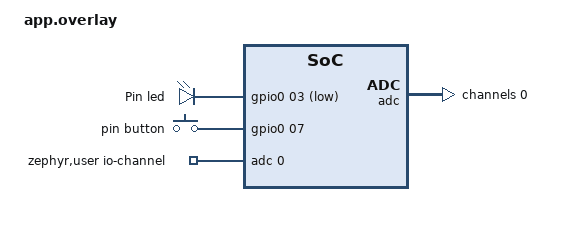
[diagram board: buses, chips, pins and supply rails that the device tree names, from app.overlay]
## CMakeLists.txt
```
cmake_minimum_required(VERSION 3.20.0)
find_package(Zephyr REQUIRED HINTS $ENV{ZEPHYR_BASE})

project(slaverRemote)

target_sources(app PRIVATE src/main.c)
```

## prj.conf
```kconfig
CONFIG_PM=y
CONFIG_PM_DEVICE=y

# General config RTT
CONFIG_LOG=y
CONFIG_USE_SEGGER_RTT=y
CONFIG_RTT_CONSOLE=y
    # Use ble and print long data with high speed
CONFIG_LOG_BUFFER_SIZE= 16384
CONFIG_SEGGER_RTT_MODE_BLOCK_IF_FIFO_FULL=y

CONFIG_ADC=y

# General config BLE
CONFIG_BT=y
CONFIG_BT_DEBUG_LOG=y
CONFIG_BT_PERIPHERAL=y
CONFIG_BT_SMP=y
CONFIG_BT_SIGNING=y
CONFIG_BT_DEVICE_NAME="RemoteDev"
CONFIG_BT_DEVICE_APPEARANCE=833
CONFIG_BT_DEVICE_NAME_DYNAMIC=y
CONFIG_BT_DEVICE_NAME_MAX=15
CONFIG_BT_KEYS_OVERWRITE_OLDEST=y
CONFIG_BT_SETTINGS=y
CONFIG_FLASH=y
CONFIG_FLASH_PAGE_LAYOUT=y
CONFIG_FLASH_MAP=y
CONFIG_NVS=y
CONFIG_SETTINGS=y

CONFIG_BT_PERIPHERAL_PREF_LATENCY=0
CONFIG_BT_PERIPHERAL_PREF_MAX_INT=2000
CONFIG_BT_PERIPHERAL_PREF_MIN_INT=1800
CONFIG_BT_PERIPHERAL_PREF_TIMEOUT=800
CONFIG_BT_CTLR_TX_PWR_PLUS_4=y
```

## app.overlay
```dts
#include <zephyr/dt-bindings/adc/adc.h>

/{
    leds {
		compatible = "gpio-leds";
		pinLed: pinLed {
			gpios = <&gpio0 03 GPIO_ACTIVE_LOW>;
			label = "Pin led";
		};
    };
    
    buttons {
		compatible = "gpio-keys";
		buttonRing: buttonRing {
			gpios = <&gpio0 07 (GPIO_PULL_DOWN | GPIO_ACTIVE_HIGH)>;
			label = "pin button";
		};
    };

	zephyr,user {
        io-channels =  <&adc 0>;
    };

    aliases {
		pinled = &pinLed;
        swring = &buttonRing;
    };

};

&gpio0 {
    status = "okay";
};

&adc {
    compatible = "nordic,nrf-saadc";
    status = "okay";
    #address-cells = <1>;
    #size-cells = <0>;

    channel@0 {
        reg = <0>;
        zephyr,gain = "ADC_GAIN_1_6";
        zephyr,reference = "ADC_REF_INTERNAL";
        zephyr,acquisition-time = <ADC_ACQ_TIME_DEFAULT>;
        zephyr,input-positive = <NRF_SAADC_VDD>;
        zephyr,resolution = <12>;
        zephyr,oversampling = <8>;
    };
};
```

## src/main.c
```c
#include <stdio.h>
#include <inttypes.h>
#include <stddef.h>
#include <stdint.h>

#include <zephyr/kernel.h>
#include <zephyr/device.h>
#include <zephyr/init.h>
#include <zephyr/pm/pm.h>
#include <zephyr/pm/device.h>
#include <zephyr/pm/policy.h>
#include <soc.h>
#include <zephyr/logging/log.h>
#include <zephyr/sys/util.h>
#include <zephyr/drivers/adc.h>
#include <zephyr/drivers/gpio.h>
#include <zephyr/device.h>
#include <zephyr/devicetree.h>
#include <hal/nrf_gpio.h>

#include <zephyr/settings/settings.h>
#include <zephyr/bluetooth/bluetooth.h>
#include <zephyr/bluetooth/hci.h>
#include <zephyr/bluetooth/conn.h>
#include <zephyr/bluetooth/uuid.h>
#include <zephyr/bluetooth/gatt.h>
#include "Lib/contrain.h"

LOG_MODULE_REGISTER(main, LOG_LEVEL_DBG);

#if !DT_NODE_EXISTS(DT_PATH(zephyr_user)) || !DT_NODE_HAS_PROP(DT_PATH(zephyr_user), io_channels)
#error "No suitable devicetree overlay specified"
#endif

#define DT_SPEC_AND_COMMA(node_id, prop, idx) ADC_DT_SPEC_GET_BY_IDX(node_id, idx),

/* Data of ADC io-channels specified in devicetree. */
static const struct adc_dt_spec adc_channels[] = {
	DT_FOREACH_PROP_ELEM(DT_PATH(zephyr_user), io_channels,
			     DT_SPEC_AND_COMMA)
};

#define LDO_NODE 		    		DT_ALIAS(pinled)
#define SWRING_NODE		    		DT_ALIAS(swring)
#define BT_UUID_SERVICE_REMOTE_BIKE      			BT_UUID_128_ENCODE(0x1025101d, 0x243f, 0x4de0, 0x8df5, 0x870c2b7d500e)
#define BT_UUID_CHARACTERISTIC_BUTTON_REMOTE		BT_UUID_128_ENCODE(0xe87d4210, 0xd28d, 0x42b1, 0x947b, 0x4a2fff0b0409)
#define BATTERY_MIN					3490		
#define BATTERY_MAX					3690
#define TIME_READ_LOW_BATTERY		500			// unit ms
#define TIME_READ_BATTERY			500			// unit seconds

static struct bt_uuid_128 service_uuid = BT_UUID_INIT_128(BT_UUID_SERVICE_REMOTE_BIKE);
static struct bt_uuid_128 charc_button_uuid = BT_UUID_INIT_128(BT_UUID_CHARACTERISTIC_BUTTON_REMOTE);

const struct device *uart0_dev = DEVICE_DT_GET(DT_CHOSEN(zephyr_console));
static const struct gpio_dt_spec led = GPIO_DT_SPEC_GET(LDO_NODE, gpios);
static const struct gpio_dt_spec button = GPIO_DT_SPEC_GET(SWRING_NODE, gpios);

static struct gpio_callback button_cb_data;
static uint8_t notifyMain;
struct k_timer bat_timer;
struct k_timer timer_1000;

int16_t buf;
struct adc_sequence sequence = {
	.buffer = &buf,
	/* buffer size in bytes, not number of samples */
	.buffer_size = sizeof(buf),
};

uint32_t timerDelay = 0;
uint32_t lastTimeButton = 0;
uint32_t lastTimeLed = 0;
bool stateSleep = true;
bool connect = false;
uint8_t mode = 0;
static float Vin = 0;

void wakeup();
void deepSleep(bool stateSleep);
void handleControl();
void setLed(uint8_t);
void setLedBattery(uint16_t _delayMS);
void beginAD(void);
uint16_t analogRead(uint8_t _pinAdc);


extern void battery_timerFunc(struct k_timer *timer_id) {
	int16_t batteryPercent = 0;
	for (uint8_t i = 0 ; i < 100; i++) {
		Vin = analogRead(0);
		UTILS_LOW_PASS_FILTER(Vin, analogRead(0), 0.05);
		batteryPercent = (Vin - BATTERY_MIN) / (BATTERY_MAX - BATTERY_MIN) * 100.0;
    	batteryPercent = constrain(batteryPercent, 0, 100);
	}
	LOG_INF("Battery: %d", batteryPercent);
	if (batteryPercent < 15) {
		k_timer_start(&bat_timer, K_MSEC(TIME_READ_LOW_BATTERY), K_NO_WAIT);
		setLedBattery(80);
	}else {
		k_timer_start(&bat_timer, K_SECONDS(TIME_READ_BATTERY), K_NO_WAIT);
	}
}

extern void timer_1000_Func(struct k_timer *timer_id) {
	gpio_pin_set_raw(led.port, led.pin, 0);
}

static const struct bt_data ad[] = {
	BT_DATA_BYTES(BT_DATA_FLAGS, (BT_LE_AD_GENERAL | BT_LE_AD_NO_BREDR)),
};

static const struct bt_data sd[] = {
	BT_DATA_BYTES(BT_DATA_UUID128_ALL, BT_UUID_SERVICE_REMOTE_BIKE),
};

static void RemoteBike_ccc_cfg_changed(const struct bt_gatt_attr *attr, uint16_t value) {
	notifyMain = value == BT_GATT_CCC_NOTIFY; 
}

BT_GATT_SERVICE_DEFINE(RemoteBike,
    BT_GATT_PRIMARY_SERVICE(&service_uuid),
    BT_GATT_CHARACTERISTIC(&charc_button_uuid.uuid,
                            BT_GATT_CHRC_NOTIFY,
                            BT_GATT_PERM_WRITE | BT_GATT_PERM_READ,
                            NULL, NULL, NULL),
    BT_GATT_CCC(RemoteBike_ccc_cfg_changed, BT_GATT_PERM_READ | BT_GATT_PERM_WRITE),
);

void mtu_updated(struct bt_conn *conn, uint16_t tx, uint16_t rx) {
	LOG_INF("Updated MTU: TX: %d RX: %d bytes", tx, rx);
}

static struct bt_gatt_cb gatt_callbacks = {
	.att_mtu_updated = mtu_updated
};

static void connected(struct bt_conn *conn, uint8_t err) {
	if (err) {
		LOG_WRN("Connection failed (err 0x%02x)", err);
		connect = false;
	} else {
		LOG_INF("Connected");
        connect = true;
	}
}

static void disconnected(struct bt_conn *conn, uint8_t reason) {
	LOG_WRN("Disconnected (reason 0x%02x)", reason);
    connect = false;
}

BT_CONN_CB_DEFINE(conn_callbacks) = {
	.connected = connected,
	.disconnected = disconnected,
};

static void auth_passkey_display(struct bt_conn *conn, unsigned int passkey)
{
	char addr[BT_ADDR_LE_STR_LEN];
	bt_addr_le_to_str(bt_conn_get_dst(conn), addr, sizeof(addr));
	printk("Passkey for %s: %06u\n", addr, passkey);
}

static void auth_cancel(struct bt_conn *conn)
{
	char addr[BT_ADDR_LE_STR_LEN];
	bt_addr_le_to_str(bt_conn_get_dst(conn), addr, sizeof(addr));
	printk("Pairing cancelled: %s\n", addr);
}

static struct bt_conn_auth_cb auth_cb_display = {
	.passkey_display = auth_passkey_display,
	.passkey_entry = NULL,
	.cancel = auth_cancel,
};

static void bt_ready(void)
{
	int err;
	LOG_INF("Bluetooth initialized");

	if (IS_ENABLED(CONFIG_SETTINGS)) {
		settings_load();
	}

    static struct bt_le_adv_param param; 
    param.id = BT_ID_DEFAULT;
	param.interval_max = 0x0060;
	param.interval_min = 0x0030;
	param.options = BT_LE_ADV_OPT_CONNECTABLE | BT_LE_ADV_OPT_USE_NAME;
	param.peer = NULL;
	param.secondary_max_skip = 0;
	param.sid = 0;

    err = bt_le_adv_start(&param, ad, ARRAY_SIZE(ad), sd, ARRAY_SIZE(sd));
	if (err) {
		LOG_WRN("Advertising failed to start (err %d)", err);
		return;
	}

	LOG_INF("Advertising successfully started");
}

void button_pressed(const struct device *dev, struct gpio_callback *cb, uint32_t pins) {	
	handleControl();
}

int main(void) {
    LOG_INF("This is a slaver remote bike addr: E0:62:BD:03:22:07 v0.0");
    pm_device_action_run(uart0_dev, PM_DEVICE_ACTION_SUSPEND);
	gpio_pin_configure_dt(&led, GPIO_OUTPUT_LOW);
	gpio_pin_configure(button.port, (gpio_port_pins_t)button.pin, GPIO_INPUT);
	beginAD();

	wakeup();
	
	gpio_pin_set_raw(led.port, led.pin, 0);

	int ret = gpio_pin_interrupt_configure_dt(&button, GPIO_INT_EDGE_TO_ACTIVE);
	if (ret != 0) {
		LOG_INF("Error %d: failed to configure interrupt on %s pin %d",
			ret, button.port->name, button.pin);
		return 0;
	}

	gpio_init_callback(&button_cb_data, button_pressed, BIT(button.pin));
	gpio_add_callback(button.port, &button_cb_data);

	int err;
    err = bt_enable(NULL);
    if (err) {
        LOG_WRN("Bluetooth init failed (err %d)", err);
        return 0;
    }

    bt_ready();
    bt_gatt_cb_register(&gatt_callbacks);
	bt_conn_auth_cb_register(&auth_cb_display);
	
	k_timer_init(&bat_timer, battery_timerFunc, NULL);
	k_timer_start(&bat_timer, K_SECONDS(5), K_NO_WAIT);
	k_timer_init(&timer_1000, timer_1000_Func, NULL);

    return 0;
}

void handleControl() {
	lastTimeButton = k_uptime_get_32();
	while (gpio_pin_get_dt(&button)) {
		if (k_uptime_get_32() - lastTimeButton > 50) mode = 1;
		if (k_uptime_get_32() - lastTimeButton > 500) mode = 2;
		if (k_uptime_get_32() - lastTimeButton > 1000) mode = 3;
		if (k_uptime_get_32() - lastTimeButton > 1500) {
			mode = 0;
			gpio_pin_set_raw(led.port, led.pin, 1);
		}
	}
	
	timerDelay = k_uptime_get_32();
	while(k_uptime_get_32() - timerDelay < 150);

	switch (mode) {
		case 1:
			LOG_INF("Mode 1");
			bt_gatt_notify_uuid(NULL, &charc_button_uuid.uuid, &RemoteBike.attrs[2], &mode, sizeof(mode));
			setLed(1);
			break;
		case 2:
			LOG_INF("Mode 2");
			bt_gatt_notify_uuid(NULL, &charc_button_uuid.uuid, &RemoteBike.attrs[2], &mode, sizeof(mode));
			setLed(2);
			break;
		case 3:
			LOG_INF("Mode 3");
			bt_gatt_notify_uuid(NULL, &charc_button_uuid.uuid, &RemoteBike.attrs[2], &mode, sizeof(mode));
			setLed(3);
			break;
		default:
			deepSleep(true);
			break;
	} 
}

void setLed(uint8_t count) {
	for (uint8_t i = 0 ; i < count ; i++) {
		lastTimeLed = k_uptime_get_32();
		gpio_pin_set_raw(led.port, led.pin, 1);
		while(k_uptime_get_32() - lastTimeLed < 200);
		lastTimeLed = k_uptime_get_32();
		gpio_pin_set_raw(led.port, led.pin, 0);
		while(k_uptime_get_32() - lastTimeLed < 150);
	}
}

/// @brief Set up and check pin Adc
void beginAD(void) {
    /* Configure channels individually prior to sampling. */
	LOG_INF("Set up ADC");
	int8_t error;
	for (size_t i = 0U; i < ARRAY_SIZE(adc_channels); i++) {
		if (!device_is_ready(adc_channels[i].dev)) {
			LOG_WRN("ADC controller device %s not ready\n", adc_channels[i].dev->name);
		}

		error = adc_channel_setup_dt(&adc_channels[i]);
		if (error < 0) {
			LOG_ERR("Could not setup channel #%d (%d)\n", i, error);
		}
	}
}

/// @brief Analog reading
/// @param _pinAdc analog read pin (takes the order set in the .overlay file, reads from 0-n)
/// @return adc value is read from that pin
uint16_t analogRead(uint8_t _pinAdc) {
    (void)adc_sequence_init_dt(&adc_channels[_pinAdc], &sequence);
    adc_read(adc_channels[_pinAdc].dev, &sequence);
    return (buf < 0) ? 0 : buf;
}

void wakeup() {
	if (gpio_pin_get_dt(&button)) { 
		lastTimeButton = k_uptime_get_32();
		LOG_INF("State Sleep : %d", stateSleep);
		k_msleep(100);
	}
	while (gpio_pin_get_dt(&button)) {
		if (k_uptime_get_32() - lastTimeButton > 3000) {
			stateSleep = false;
			LOG_INF("State Sleep : %d", stateSleep);
			gpio_pin_set_raw(led.port, led.pin, 1);
			while (gpio_pin_get_dt(&button)) {
				k_msleep(10);
			}
			k_msleep(100);
		}
	}
	
	deepSleep(stateSleep);
}

void deepSleep(bool stateSleep) {
	if (!stateSleep) return;

	LOG_INF("System off remote");
	timerDelay = k_uptime_get_32();
	while(k_uptime_get_32() - timerDelay < 1000);

	nrf_gpio_cfg_input(NRF_DT_GPIOS_TO_PSEL(DT_ALIAS(swring), gpios),
			   NRF_GPIO_PIN_PULLDOWN);
	nrf_gpio_cfg_sense_set(NRF_DT_GPIOS_TO_PSEL(DT_ALIAS(swring), gpios),
			       NRF_GPIO_PIN_SENSE_HIGH);
	
	gpio_pin_set_raw(led.port, led.pin, 0);

    struct pm_state_info info;
    info.state = PM_STATE_SOFT_OFF;
    info.min_residency_us = 0;
    info.exit_latency_us = 0;
    pm_state_force(0u, &info);
}

void setLedBattery(uint16_t _delayMS) {
	gpio_pin_set_raw(led.port, led.pin, 1);
	k_timer_start(&timer_1000, K_MSEC(_delayMS), K_NO_WAIT);	
}
```
